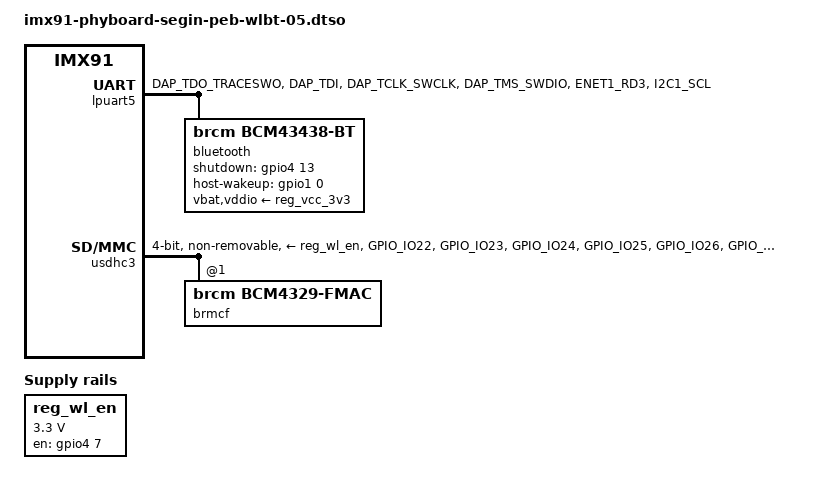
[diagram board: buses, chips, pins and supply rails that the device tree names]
// SPDX-License-Identifier: GPL-2.0
/*
 * Copyright (C) 2025 PHYTEC Messtechnik GmbH
 * Author: Primoz Fiser <primoz.fiser@norik.com>
 */

#include <dt-bindings/gpio/gpio.h>
#include <dt-bindings/interrupt-controller/irq.h>
#include "imx91-pinfunc.h"

/dts-v1/;
/plugin/;

/ {
	compatible = "phytec,imx91-phyboard-segin";
};

&{/} {
	reg_wl_en: regulator-wl-en {
		compatible = "regulator-fixed";
		regulator-name = "wlan_en";
		regulator-min-microvolt = <3300000>;
		regulator-max-microvolt = <3300000>;
		pinctrl-names = "default";
		pinctrl-0 = <&pinctrl_wl>;
		gpio = <&gpio4 7 GPIO_ACTIVE_HIGH>;
		enable-active-high;
		startup-delay-us = <100>;
	};
};

&lpuart5 {
	pinctrl-names = "default";
	pinctrl-0 = <&pinctrl_uart5_bt &pinctrl_bt>;
	/*
	* NOTE: J9 and J10 solder pads on PEB-WLBT-05 need to be resolder to
	* connect 2+3 pads (crossing RTS and CTS lines).
	*/
	status = "okay";

	bluetooth {
		compatible = "brcm,bcm43438-bt";
		shutdown-gpios = <&gpio4 13 GPIO_ACTIVE_HIGH>;
		host-wakeup-gpios = <&gpio1 0 GPIO_ACTIVE_HIGH>;
		max-speed = <2000000>;
		vbat-supply = <&reg_vcc_3v3>;
		vddio-supply = <&reg_vcc_3v3>;
	};
};

&usdhc3 {
	#address-cells = <1>;
	#size-cells = <0>;
	pinctrl-names = "default";
	pinctrl-0 = <&pinctrl_usdhc3_wl>;
	vmmc-supply = <&reg_wl_en>;
	bus-width = <4>;
	non-removable;
	no-1-8-v;
	status = "okay";

	brmcf: wifi@1 {
		compatible = "brcm,bcm4329-fmac";
		reg = <1>;
	};
};

&iomuxc {
	pinctrl_bt: btgrp {
		fsl,pins = <
			MX91_PAD_ENET1_RD3__GPIO4_IO13		0x31e	/* BT ENABLE */
			MX91_PAD_I2C1_SCL__GPIO1_IO0		0x31e	/* HOST WAKEUP */
		>;
	};

	pinctrl_uart5_bt: uart5grp-bt {
		fsl,pins = <
			MX91_PAD_DAP_TDO_TRACESWO__LPUART5_TX	0x31e
			MX91_PAD_DAP_TDI__LPUART5_RX		0x31e
			MX91_PAD_DAP_TCLK_SWCLK__LPUART5_CTS_B	0x31e
			MX91_PAD_DAP_TMS_SWDIO__LPUART5_RTS_B	0x31e
		>;
	};

	pinctrl_usdhc3_wl: usdhc3grp-wl {
		fsl,pins = <
			MX91_PAD_GPIO_IO22__USDHC3_CLK		0x179e
			MX91_PAD_GPIO_IO23__USDHC3_CMD		0x4000139e
			MX91_PAD_GPIO_IO24__USDHC3_DATA0	0x4000139e
			MX91_PAD_GPIO_IO25__USDHC3_DATA1	0x4000139e
			MX91_PAD_GPIO_IO26__USDHC3_DATA2	0x4000139e
			MX91_PAD_GPIO_IO27__USDHC3_DATA3	0x4000139e
		>;
	};

	pinctrl_wl: wlgrp {
		fsl,pins = <
			MX91_PAD_ENET1_TXC__GPIO4_IO7		0x31e	/* WLAN ENABLE */
		>;
	};
};
